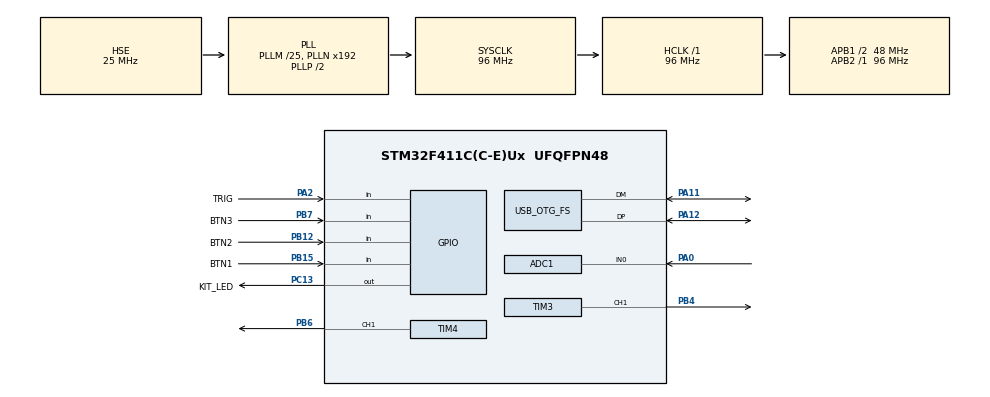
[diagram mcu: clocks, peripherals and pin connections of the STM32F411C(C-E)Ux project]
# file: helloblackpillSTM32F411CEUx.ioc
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ADC1.Channel-1\#ChannelRegularConversion=ADC_CHANNEL_0
ADC1.NbrOfConversionFlag=1
ADC1.Rank-1\#ChannelRegularConversion=1
ADC1.SamplingTime-1\#ChannelRegularConversion=ADC_SAMPLETIME_3CYCLES
ADC1.master=1
Mcu.Family=STM32F4
Mcu.Name=STM32F411C(C-E)Ux
Mcu.Package=UFQFPN48
NVIC.OTG_FS_IRQn=true\:0\:0\:false\:false\:true\:false\:true\:true
NVIC.PriorityGroup=NVIC_PRIORITYGROUP_4
NVIC.TIM4_IRQn=true\:0\:0\:false\:false\:true\:true\:true\:true
PA0-WKUP.Signal=ADCx_IN0
PA11.Mode=Device_Only
PA11.Signal=USB_OTG_FS_DM
PA12.Mode=Device_Only
PA12.Signal=USB_OTG_FS_DP
PA13.Mode=Serial_Wire
PA13.Signal=SYS_JTMS-SWDIO
PA14.Mode=Serial_Wire
PA14.Signal=SYS_JTCK-SWCLK
PA2.GPIO_Label=TRIG
PA2.Signal=GPIO_Input
PB12.GPIO_Label=BTN2
PB12.Signal=GPIO_Input
PB15.GPIO_Label=BTN1
PB15.Signal=GPIO_Input
PB4.Signal=S_TIM3_CH1
PB6.Signal=S_TIM4_CH1
PB7.GPIO_Label=BTN3
PB7.Signal=GPIO_Input
PC13-ANTI_TAMP.GPIO_Label=KIT_LED
PC13-ANTI_TAMP.Signal=GPIO_Output
PC14-OSC32_IN.Mode=LSE-External-Oscillator
PC14-OSC32_IN.Signal=RCC_OSC32_IN
PC15-OSC32_OUT.Mode=LSE-External-Oscillator
PC15-OSC32_OUT.Signal=RCC_OSC32_OUT
PH0\ -\ OSC_IN.Mode=HSE-External-Oscillator
PH0\ -\ OSC_IN.Signal=RCC_OSC_IN
PH1\ -\ OSC_OUT.Mode=HSE-External-Oscillator
PH1\ -\ OSC_OUT.Signal=RCC_OSC_OUT
ProjectManager.HeapSize=0x200
ProjectManager.StackSize=0x400
ProjectManager.TargetToolchain=Makefile
RCC.48MHZClocksFreq_Value=48000000
RCC.AHBFreq_Value=96000000
RCC.APB1CLKDivider=RCC_HCLK_DIV2
RCC.APB1Freq_Value=48000000
RCC.APB1TimFreq_Value=96000000
RCC.APB2Freq_Value=96000000
RCC.APB2TimFreq_Value=96000000
RCC.CortexFreq_Value=96000000
RCC.HCLKFreq_Value=96000000
RCC.HSE_VALUE=25000000
RCC.HSI_VALUE=16000000
RCC.PLLM=25
RCC.SYSCLKFreq_VALUE=96000000
RCC.SYSCLKSource=RCC_SYSCLKSOURCE_PLLCLK
RCC.VCOOutputFreq_Value=192000000
SH.ADCx_IN0.0=ADC1_IN0,IN0
SH.S_TIM3_CH1.0=TIM3_CH1,PWM Generation1 CH1
SH.S_TIM4_CH1.0=TIM4_CH1,PWM Generation1 CH1
TIM3.Channel-PWM\ Generation1\ CH1=TIM_CHANNEL_1
TIM3.Prescaler=1
TIM4.Channel-PWM\ Generation1\ CH1=TIM_CHANNEL_1
TIM4.Period=1030
TIM4.Prescaler=9600-1
USB_DEVICE.CLASS_NAME_FS=CDC
USB_DEVICE.VirtualMode=Cdc
USB_DEVICE.VirtualModeFS=Cdc_FS
USB_OTG_FS.VirtualMode=Device_Only
VP_TIM3_VS_ClockSourceINT.Mode=Internal
VP_TIM4_VS_ClockSourceINT.Mode=Internal
VP_USB_DEVICE_VS_USB_DEVICE_CDC_FS.Mode=CDC_FS
board=custom

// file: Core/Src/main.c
/* USER CODE BEGIN Header */
/**
  ******************************************************************************
  * @file           : main.c
  * @brief          : Main program body
  ******************************************************************************
  * @attention
  *
  * Copyright (c) 2022 STMicroelectronics.
  * All rights reserved.
  *
  * This software is licensed under terms that can be found in the LICENSE file
  * in the root directory of this software component.
  * If no LICENSE file comes with this software, it is provided AS-IS.
  *
  ******************************************************************************
  */
/* USER CODE END Header */
#include "main.h"
#include "usb_device.h"

/* USER CODE BEGIN Includes */
#include "button.h"
#include "stdbool.h"
#include "math.h"
/* USER CODE END Includes */

ADC_HandleTypeDef hadc1;

TIM_HandleTypeDef htim3;
TIM_HandleTypeDef htim4;

/* USER CODE BEGIN PV */
uint16_t read;
uint16_t temp;
uint8_t buffer[255];
bool enableMeasure;
uint16_t kp;
uint16_t ref = 2000;
float err=0;
float prev_err=0;
float Kp = 0.01;
uint8_t Ki = 10;
uint8_t Kd = 1;
uint16_t integrationSum=0;
float duty=0;
bool enablePID = false;
uint8_t answer=0;
/* USER CODE END PV */

void SystemClock_Config(void);
static void MX_GPIO_Init(void);
static void MX_TIM4_Init(void);
static void MX_ADC1_Init(void);
static void MX_TIM3_Init(void);

/* USER CODE BEGIN 0 */
uint16_t counter = 0;
/* USER CODE END 0 */

int main(void)
{

  /* MCU Configuration--------------------------------------------------------*/

  /* Reset of all peripherals, Initializes the Flash interface and the Systick. */
  HAL_Init();

  /* Configure the system clock */
  SystemClock_Config();

  /* Initialize all configured peripherals */
  MX_GPIO_Init();
  MX_TIM4_Init();
  MX_ADC1_Init();
  MX_USB_DEVICE_Init();
  MX_TIM3_Init();
  /* USER CODE BEGIN 2 */
  HAL_TIM_Base_Start_IT(&htim4);
  HAL_TIM_PWM_Start(&htim3, TIM_CHANNEL_1);
  TIM3 -> CCR1 = 0;

  /* USER CODE END 2 */

  /* Infinite loop */
  /* USER CODE BEGIN WHILE */
  while (1)
  {

      if(answer==0){
        sprintf(buffer, "Digite um comando: \r \n");
        CDC_Transmit_FS(buffer,strlen(buffer));
        answer=1;
      }
      else if (buffer[0] == 84 || buffer[0] ==  116){
        sprintf(buffer, "duty %d : temp %d  \r \n", kp ,temp);
        CDC_Transmit_FS(buffer,strlen(buffer));
        answer=0;
        buffer[0] = 0;
      }

      if(button_release(GPIOB,BTN3_Pin,0)){
        enablePID = !enablePID;
      }

      /* ON / OFF -- START User Code */
      if (temp>32 && !enablePID){
        TIM3 -> CCR1 = TIM3 -> ARR;
        HAL_Delay(25);
      }
      else if (temp < 28 && !enablePID){
        TIM3 -> CCR1 = 0;
        HAL_Delay(25);
      }

    /* ON / OFF -- END User Code */

    /* USER CODE END WHILE */
  }
}

void SystemClock_Config(void)
{
  RCC_OscInitTypeDef RCC_OscInitStruct = {0};
  RCC_ClkInitTypeDef RCC_ClkInitStruct = {0};

  /** Configure the main internal regulator output voltage
  */
  __HAL_RCC_PWR_CLK_ENABLE();
  __HAL_PWR_VOLTAGESCALING_CONFIG(PWR_REGULATOR_VOLTAGE_SCALE1);

  /** Initializes the RCC Oscillators according to the specified parameters
  * in the RCC_OscInitTypeDef structure.
  */
  RCC_OscInitStruct.OscillatorType = RCC_OSCILLATORTYPE_HSE;
  RCC_OscInitStruct.HSEState = RCC_HSE_ON;
  RCC_OscInitStruct.PLL.PLLState = RCC_PLL_ON;
  RCC_OscInitStruct.PLL.PLLSource = RCC_PLLSOURCE_HSE;
  RCC_OscInitStruct.PLL.PLLM = 25;
  RCC_OscInitStruct.PLL.PLLN = 192;
  RCC_OscInitStruct.PLL.PLLP = RCC_PLLP_DIV2;
  RCC_OscInitStruct.PLL.PLLQ = 4;
  if (HAL_RCC_OscConfig(&RCC_OscInitStruct) != HAL_OK)
  {
    Error_Handler();
  }

  /** Initializes the CPU, AHB and APB buses clocks
  */
  RCC_ClkInitStruct.ClockType = RCC_CLOCKTYPE_HCLK|RCC_CLOCKTYPE_SYSCLK
                              |RCC_CLOCKTYPE_PCLK1|RCC_CLOCKTYPE_PCLK2;
  RCC_ClkInitStruct.SYSCLKSource = RCC_SYSCLKSOURCE_PLLCLK;
  RCC_ClkInitStruct.AHBCLKDivider = RCC_SYSCLK_DIV1;
  RCC_ClkInitStruct.APB1CLKDivider = RCC_HCLK_DIV2;
  RCC_ClkInitStruct.APB2CLKDivider = RCC_HCLK_DIV1;

  if (HAL_RCC_ClockConfig(&RCC_ClkInitStruct, FLASH_LATENCY_3) != HAL_OK)
  {
    Error_Handler();
  }
}

static void MX_ADC1_Init(void)
{

  ADC_ChannelConfTypeDef sConfig = {0};

  /** Configure the global features of the ADC (Clock, Resolution, Data Alignment and number of conversion)
  */
  hadc1.Instance = ADC1;
  hadc1.Init.ClockPrescaler = ADC_CLOCK_SYNC_PCLK_DIV4;
  hadc1.Init.Resolution = ADC_RESOLUTION_12B;
  hadc1.Init.ScanConvMode = DISABLE;
  hadc1.Init.ContinuousConvMode = DISABLE;
  hadc1.Init.DiscontinuousConvMode = DISABLE;
  hadc1.Init.ExternalTrigConvEdge = ADC_EXTERNALTRIGCONVEDGE_NONE;
  hadc1.Init.ExternalTrigConv = ADC_SOFTWARE_START;
  hadc1.Init.DataAlign = ADC_DATAALIGN_RIGHT;
  hadc1.Init.NbrOfConversion = 1;
  hadc1.Init.DMAContinuousRequests = DISABLE;
  hadc1.Init.EOCSelection = ADC_EOC_SINGLE_CONV;
  if (HAL_ADC_Init(&hadc1) != HAL_OK)
  {
    Error_Handler();
  }

  /** Configure for the selected ADC regular channel its corresponding rank in the sequencer and its sample time.
  */
  sConfig.Channel = ADC_CHANNEL_0;
  sConfig.Rank = 1;
  sConfig.SamplingTime = ADC_SAMPLETIME_3CYCLES;
  if (HAL_ADC_ConfigChannel(&hadc1, &sConfig) != HAL_OK)
  {
    Error_Handler();
  }

}

static void MX_TIM3_Init(void)
{

  TIM_ClockConfigTypeDef sClockSourceConfig = {0};
  TIM_MasterConfigTypeDef sMasterConfig = {0};
  TIM_OC_InitTypeDef sConfigOC = {0};

  htim3.Instance = TIM3;
  htim3.Init.Prescaler = 1;
  htim3.Init.CounterMode = TIM_COUNTERMODE_UP;
  htim3.Init.Period = 65535;
  htim3.Init.ClockDivision = TIM_CLOCKDIVISION_DIV1;
  htim3.Init.AutoReloadPreload = TIM_AUTORELOAD_PRELOAD_DISABLE;
  if (HAL_TIM_Base_Init(&htim3) != HAL_OK)
  {
    Error_Handler();
  }
  sClockSourceConfig.ClockSource = TIM_CLOCKSOURCE_INTERNAL;
  if (HAL_TIM_ConfigClockSource(&htim3, &sClockSourceConfig) != HAL_OK)
  {
    Error_Handler();
  }
  if (HAL_TIM_PWM_Init(&htim3) != HAL_OK)
  {
    Error_Handler();
  }
  sMasterConfig.MasterOutputTrigger = TIM_TRGO_RESET;
  sMasterConfig.MasterSlaveMode = TIM_MASTERSLAVEMODE_DISABLE;
  if (HAL_TIMEx_MasterConfigSynchronization(&htim3, &sMasterConfig) != HAL_OK)
  {
    Error_Handler();
  }
  sConfigOC.OCMode = TIM_OCMODE_PWM1;
  sConfigOC.Pulse = 0;
  sConfigOC.OCPolarity = TIM_OCPOLARITY_HIGH;
  sConfigOC.OCFastMode = TIM_OCFAST_DISABLE;
  if (HAL_TIM_PWM_ConfigChannel(&htim3, &sConfigOC, TIM_CHANNEL_1) != HAL_OK)
  {
    Error_Handler();
  }
  HAL_TIM_MspPostInit(&htim3);

}

static void MX_TIM4_Init(void)
{

  TIM_ClockConfigTypeDef sClockSourceConfig = {0};
  TIM_MasterConfigTypeDef sMasterConfig = {0};
  TIM_OC_InitTypeDef sConfigOC = {0};

  htim4.Instance = TIM4;
  htim4.Init.Prescaler = 9600-1;
  htim4.Init.CounterMode = TIM_COUNTERMODE_UP;
  htim4.Init.Period = 1030;
  htim4.Init.ClockDivision = TIM_CLOCKDIVISION_DIV1;
  htim4.Init.AutoReloadPreload = TIM_AUTORELOAD_PRELOAD_DISABLE;
  if (HAL_TIM_Base_Init(&htim4) != HAL_OK)
  {
    Error_Handler();
  }
  sClockSourceConfig.ClockSource = TIM_CLOCKSOURCE_INTERNAL;
  if (HAL_TIM_ConfigClockSource(&htim4, &sClockSourceConfig) != HAL_OK)
  {
    Error_Handler();
  }
  if (HAL_TIM_PWM_Init(&htim4) != HAL_OK)
  {
    Error_Handler();
  }
  sMasterConfig.MasterOutputTrigger = TIM_TRGO_RESET;
  sMasterConfig.MasterSlaveMode = TIM_MASTERSLAVEMODE_DISABLE;
  if (HAL_TIMEx_MasterConfigSynchronization(&htim4, &sMasterConfig) != HAL_OK)
  {
    Error_Handler();
  }
  sConfigOC.OCMode = TIM_OCMODE_PWM1;
  sConfigOC.Pulse = 0;
  sConfigOC.OCPolarity = TIM_OCPOLARITY_HIGH;
  sConfigOC.OCFastMode = TIM_OCFAST_DISABLE;
  if (HAL_TIM_PWM_ConfigChannel(&htim4, &sConfigOC, TIM_CHANNEL_1) != HAL_OK)
  {
    Error_Handler();
  }
  HAL_TIM_MspPostInit(&htim4);

}

static void MX_GPIO_Init(void)
{
  GPIO_InitTypeDef GPIO_InitStruct = {0};

  /* GPIO Ports Clock Enable */
  __HAL_RCC_GPIOC_CLK_ENABLE();
  __HAL_RCC_GPIOH_CLK_ENABLE();
  __HAL_RCC_GPIOA_CLK_ENABLE();
  __HAL_RCC_GPIOB_CLK_ENABLE();

  /*Configure GPIO pin Output Level */
  HAL_GPIO_WritePin(KIT_LED_GPIO_Port, KIT_LED_Pin, GPIO_PIN_RESET);

  /*Configure GPIO pin : KIT_LED_Pin */
  GPIO_InitStruct.Pin = KIT_LED_Pin;
  GPIO_InitStruct.Mode = GPIO_MODE_OUTPUT_PP;
  GPIO_InitStruct.Pull = GPIO_NOPULL;
  GPIO_InitStruct.Speed = GPIO_SPEED_FREQ_LOW;
  HAL_GPIO_Init(KIT_LED_GPIO_Port, &GPIO_InitStruct);

  /*Configure GPIO pin : TRIG_Pin */
  GPIO_InitStruct.Pin = TRIG_Pin;
  GPIO_InitStruct.Mode = GPIO_MODE_INPUT;
  GPIO_InitStruct.Pull = GPIO_NOPULL;
  HAL_GPIO_Init(TRIG_GPIO_Port, &GPIO_InitStruct);

  /*Configure GPIO pins : BTN2_Pin BTN1_Pin BTN3_Pin */
  GPIO_InitStruct.Pin = BTN2_Pin|BTN1_Pin|BTN3_Pin;
  GPIO_InitStruct.Mode = GPIO_MODE_INPUT;
  GPIO_InitStruct.Pull = GPIO_NOPULL;
  HAL_GPIO_Init(GPIOB, &GPIO_InitStruct);

}

/* USER CODE BEGIN 4 */
void HAL_TIM_PeriodElapsedCallback (TIM_HandleTypeDef * htim){
  HAL_ADC_Start(&hadc1);
  HAL_ADC_PollForConversion(&hadc1,100);
  read = HAL_ADC_GetValue(&hadc1);
  temp = 47.937 * log(3.3 * read/ 4095) + 2;

  if(enablePID){

    err = ref - read;
    integrationSum += err*0.5/1000;
    duty = (Kp*err + Ki*integrationSum + Kd*1000*(err - prev_err)/0.0005);
    kp = duty*100;

    if(read > 2200 && TIM3->CCR1 < TIM3->ARR*0.8 ){
      TIM3-> CCR1 +=  TIM3 -> ARR*0.05;
    }
    else if (read < 2200 && TIM3->CCR1 < TIM3->ARR*0.8 ) {
      TIM3-> CCR1 -= TIM3 -> ARR*0.15;
    }
    TIM3-> CCR1 +=  65535 - duty;
   }

  }

/* USER CODE END 4 */

void Error_Handler(void)
{
  __disable_irq();
  while (1)
  {
  }
}
